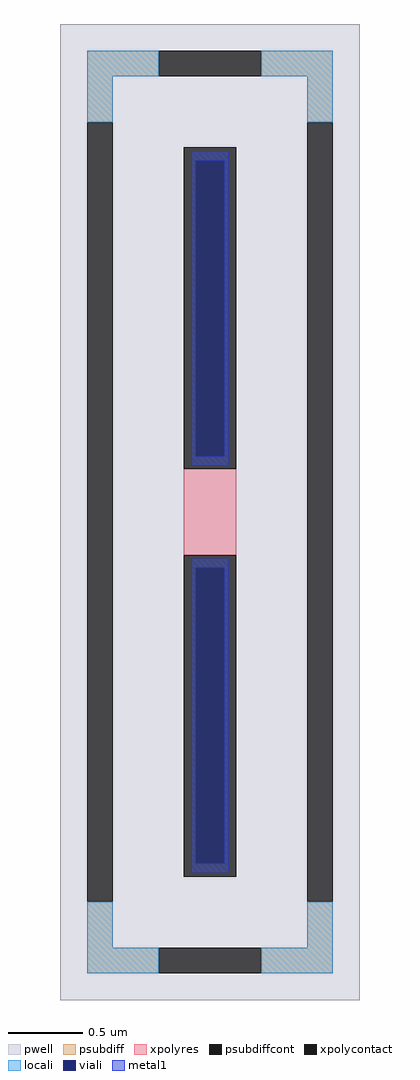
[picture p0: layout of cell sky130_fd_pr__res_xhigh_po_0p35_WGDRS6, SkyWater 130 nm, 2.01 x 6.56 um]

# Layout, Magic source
magic
tech sky130A
magscale 1 2
<< pwell >>
rect -201 -656 201 656
<< psubdiff >>
rect -165 586 -69 620
rect 69 586 165 620
rect -165 524 -131 586
rect 131 524 165 586
rect -165 -586 -131 -524
rect 131 -586 165 -524
rect -165 -620 -69 -586
rect 69 -620 165 -586
<< psubdiffcont >>
rect -69 586 69 620
rect -165 -524 -131 524
rect 131 -524 165 524
rect -69 -620 69 -586
<< xpolycontact >>
rect -35 58 35 490
rect -35 -490 35 -58
<< xpolyres >>
rect -35 -58 35 58
<< locali >>
rect -165 586 -69 620
rect 69 586 165 620
rect -165 524 -131 586
rect 131 524 165 586
rect -165 -586 -131 -524
rect 131 -586 165 -524
rect -165 -620 -69 -586
rect 69 -620 165 -586
<< viali >>
rect -19 75 19 472
rect -19 -472 19 -75
<< metal1 >>
rect -25 472 25 484
rect -25 75 -19 472
rect 19 75 25 472
rect -25 63 25 75
rect -25 -75 25 -63
rect -25 -472 -19 -75
rect 19 -472 25 -75
rect -25 -484 25 -472
<< properties >>
string FIXED_BBOX -148 -603 148 603
string gencell sky130_fd_pr__res_xhigh_po_0p35
string library sky130
string parameters w 0.350 l 0.735 m 1 nx 1 wmin 0.350 lmin 0.50 rho 2000 val 5.275k dummy 0 dw 0.0 term 188.2 sterm 0.0 caplen 0 wmax 0.350 guard 1 glc 1 grc 1 gtc 1 gbc 1 compatible {sky130_fd_pr__res_xhigh_po_0p35  sky130_fd_pr__res_xhigh_po_0p69 sky130_fd_pr__res_xhigh_po_1p41  sky130_fd_pr__res_xhigh_po_2p85 sky130_fd_pr__res_xhigh_po_5p73} snake 0 full_metal 1 n_guard 0 hv_guard 0 vias 1 viagb 0 viagt 0 viagl 0 viagr 0
<< end >>
